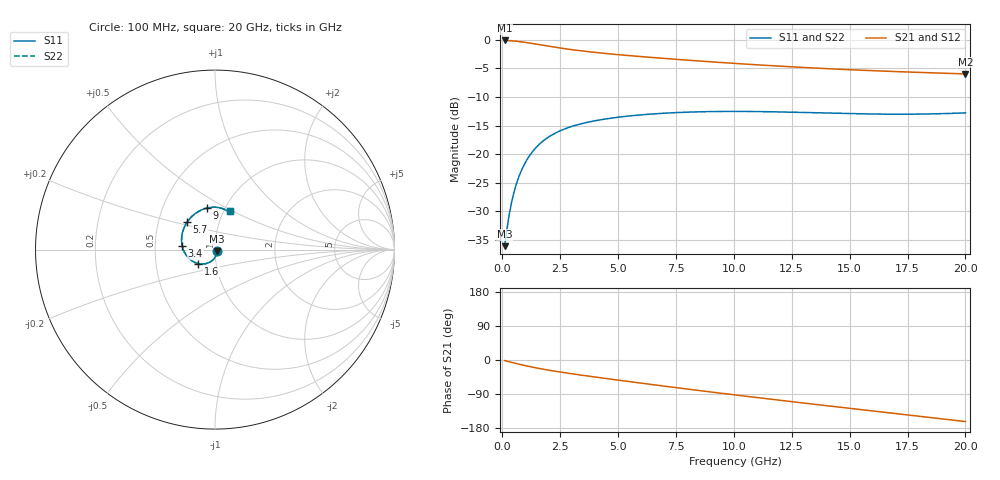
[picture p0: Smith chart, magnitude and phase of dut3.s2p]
! Created with skrf 1.9.0 (http://scikit-rf.org).
# GHz S RI R 50.0
!freq ReS11 ImS11 ReS21 ImS21 ReS12 ImS12 ReS22 ImS22
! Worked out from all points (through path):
!   200 points, 100 MHz to 20 GHz, reference 50 ohm
!   highest |S21| = -0.12 dB at 100 MHz (marker M1); lowest = -6.0 dB at 20 GHz (marker M2)
!   group delay of S21, straight-line fit = 21.3 ps
!   lowest |S11| = -36.1 dB at 100 MHz (marker M3), VSWR 1.03, Z = 51.2 - j0.987 ohm
!   |S11| at or under -10 dB: start of sweep to end of sweep
!   |S22| runs from -36.1 to -12.5 dB; largest |S21 - S12| = 2.3e-15
!   S11 on the Smith chart (normalised r, x): 100 MHz: 1.02, -0.02; 1.6 GHz: 0.82, -0.13; 3.4 GHz: 0.69, +0.03; 5.7 GHz: 0.70, +0.22; 9 GHz: 0.82, +0.40; 20 GHz: 1.07, +0.48
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0.1  0.0124 -0.00963  0.9862 -0.0274  0.9862 -0.0274  0.0124 -0.00963
0.2  0.0106 -0.0194  0.9836 -0.0544  0.9836 -0.0544  0.0106 -0.0194
0.3  0.00759 -0.0287  0.9795 -0.081  0.9795 -0.081  0.00759 -0.0287
0.4  0.00344 -0.0377  0.9739 -0.1069  0.9739 -0.1069  0.00344 -0.0377
0.5  -0.0018 -0.046  0.9669 -0.1322  0.9669 -0.1322  -0.0018 -0.046
0.7  -0.0151 -0.0603  0.9494 -0.1801  0.9494 -0.1801  -0.0151 -0.0603
0.9  -0.0312 -0.071  0.9281 -0.2241  0.9281 -0.2241  -0.0312 -0.071
1.1  -0.0489 -0.0776  0.904 -0.2638  0.904 -0.2638  -0.0489 -0.0776
1.6  -0.094 -0.0778  0.8379 -0.3456  0.8379 -0.3456  -0.094 -0.0778
2.4  -0.1504 -0.0437  0.7328 -0.4365  0.7328 -0.4365  -0.1504 -0.0437
3.4  -0.1829 0.0215  0.615 -0.5126  0.615 -0.5126  -0.1829 0.0215
3.5  -0.1841 0.0282  0.6039 -0.5189  0.6039 -0.5189  -0.1841 0.0282
4.5  -0.1819 0.0914  0.4969 -0.572  0.4969 -0.572  -0.1819 0.0914
5.7  -0.1558 0.1523  0.3741 -0.6161  0.3741 -0.6161  -0.1558 0.1523
6.8  -0.1209 0.1919  0.2653 -0.6388  0.2653 -0.6388  -0.1209 0.1919
9  -0.0464 0.231  0.0631 -0.6387  0.0631 -0.6387  -0.0464 0.231
10.1  -0.0138 0.236  -0.0276 -0.6195  -0.0276 -0.6195  -0.0138 0.236
11.7  0.0241 0.2333  -0.1453 -0.5742  -0.1453 -0.5742  0.0241 0.2333
13.4  0.0514 0.2245  -0.2514 -0.5085  -0.2514 -0.5085  0.0514 0.2245
16.7  0.0754 0.2104  -0.4023 -0.3448  -0.4023 -0.3448  0.0754 0.2104
18.4  0.0796 0.2099  -0.4516 -0.2479  -0.4516 -0.2479  0.0796 0.2099
20  0.0824 0.2143  -0.4797 -0.1521  -0.4797 -0.1521  0.0824 0.2143
